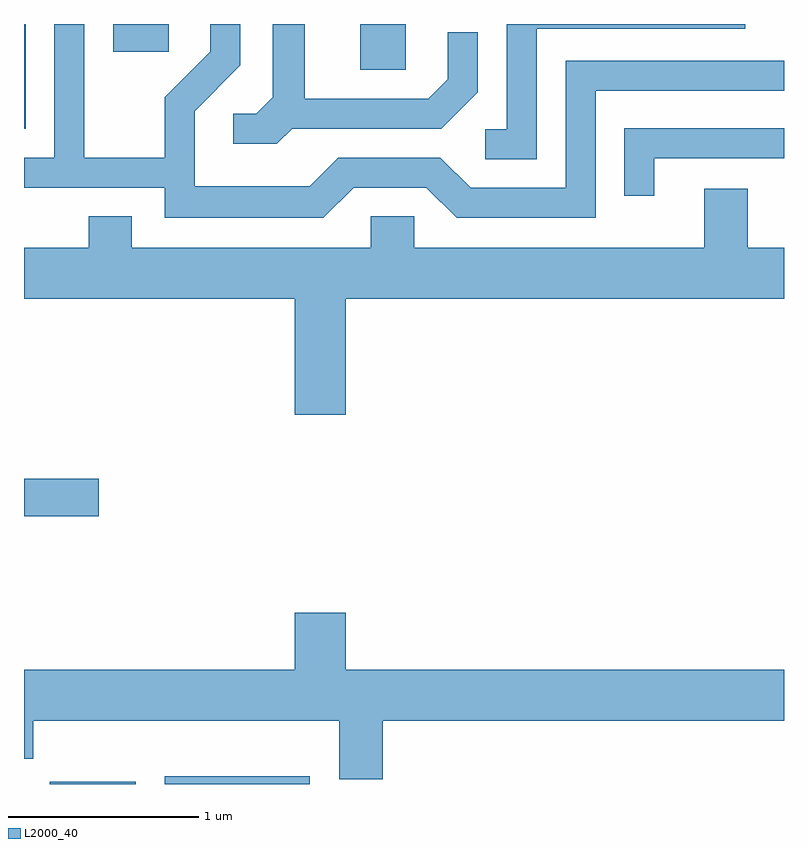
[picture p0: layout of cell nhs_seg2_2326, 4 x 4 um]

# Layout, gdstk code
import gdstk
lib = gdstk.Library(unit=1e-6, precision=1e-09)
def R(c, l, rs):  # rectangles x0, y0, x1, y1
    for r in rs: c.add(gdstk.rectangle(r[:2], r[2:], *l))
def P(c, l, *ps):  # polygons
    for p in ps: c.add(gdstk.Polygon(p, *l))
L2000_40 = (2000, 40)

nhs_seg2_2326 = lib.new_cell('nhs_seg2_2326')
R(nhs_seg2_2326, L2000_40, [(253.746,1005.802,254.199,1005.814), (254.351,1005.802,255.114,1005.844), (253.611,1007.211,254.004,1007.409), (253.611,1009.251,253.619,1009.802), (255.381,1009.561,255.619,1009.802), (254.081,1009.656,254.374,1009.802)])
P(nhs_seg2_2326, L2000_40, [(255.347,1008.941),(255.729,1008.941),(255.889,1008.781),(256.619,1008.781),(256.619,1009.451),(257.611,1009.451),(257.611,1009.609),(256.461,1009.609),(256.461,1008.939),(255.962,1008.939),(255.802,1009.099),(255.264,1009.099),(255.114,1008.949),(254.509,1008.949),(254.509,1009.344),(254.749,1009.584),(254.749,1009.802),(254.591,1009.802),(254.591,1009.657),(254.351,1009.417),(254.351,1009.099),(253.929,1009.099),(253.929,1009.802),(253.771,1009.802),(253.771,1009.099),(253.611,1009.099),(253.611,1008.941),(254.351,1008.941),(254.351,1008.781),(255.187,1008.781)],
  [(255.022,1009.251),(255.807,1009.251),(255.999,1009.444),(255.999,1009.758),(255.841,1009.758),(255.841,1009.512),(255.739,1009.409),(255.089,1009.409),(255.089,1009.802),(254.921,1009.802),(254.921,1009.417),(254.834,1009.329),(254.713,1009.329),(254.713,1009.171),(254.942,1009.171)],
  [(256.309,1009.776),(257.408,1009.776),(257.408,1009.802),(256.151,1009.802),(256.151,1009.249),(256.038,1009.249),(256.038,1009.091),(256.309,1009.091)],
  [(256.929,1009.096),(257.611,1009.096),(257.611,1009.254),(256.771,1009.254),(256.771,1008.898),(256.929,1008.898)],
  [(255.304,1008.356),(257.611,1008.356),(257.611,1008.624),(257.419,1008.624),(257.419,1008.934),(257.191,1008.934),(257.191,1008.624),(255.664,1008.624),(255.664,1008.789),(255.436,1008.789),(255.436,1008.624),(254.179,1008.624),(254.179,1008.789),(253.951,1008.789),(253.951,1008.624),(253.611,1008.624),(253.611,1008.356),(255.036,1008.356),(255.036,1007.746),(255.304,1007.746)],
  [(255.499,1006.136),(257.611,1006.136),(257.611,1006.404),(255.304,1006.404),(255.304,1006.704),(255.036,1006.704),(255.036,1006.404),(253.611,1006.404),(253.611,1005.936),(253.659,1005.936),(253.659,1006.136),(255.271,1006.136),(255.271,1005.826),(255.499,1005.826)])

lib.write_gds('nhs_seg2_2326.gds')
